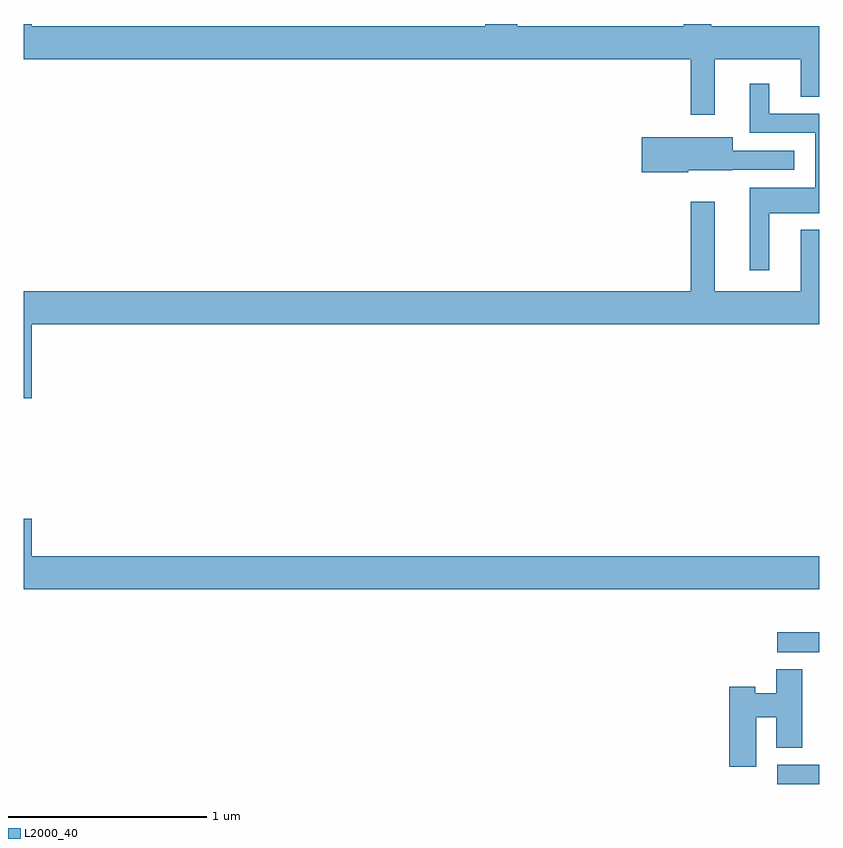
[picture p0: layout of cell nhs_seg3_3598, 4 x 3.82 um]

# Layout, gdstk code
import gdstk
lib = gdstk.Library(unit=1e-6, precision=1e-09)
def R(c, l, rs):  # rectangles x0, y0, x1, y1
    for r in rs: c.add(gdstk.rectangle(r[:2], r[2:], *l))
def P(c, l, *ps):  # polygons
    for p in ps: c.add(gdstk.Polygon(p, *l))
L2000_40 = (2000, 40)

nhs_seg3_3598 = lib.new_cell('nhs_seg3_3598')
R(nhs_seg3_3598, L2000_40, [(300.789,722.58,301,722.676), (300.789,723.243,301,723.342)])
P(nhs_seg3_3598, L2000_40, [(300.475,726.224),(300.905,726.224),(300.905,726.034),(301,726.034),(301,726.388),(300.457,726.388),(300.457,726.4),(300.317,726.4),(300.317,726.388),(299.481,726.388),(299.481,726.4),(299.321,726.4),(299.321,726.388),(297.04,726.388),(297.04,726.4),(297,726.4),(297,726.224),(300.354,726.224),(300.354,725.943),(300.475,725.943)],
  [(300.748,725.45),(301,725.45),(301,725.949),(300.748,725.949),(300.748,726.1),(300.65,726.1),(300.65,725.853),(300.98,725.853),(300.98,725.578),(300.65,725.578),(300.65,725.163),(300.748,725.163)],
  [(300.342,725.666),(300.561,725.666),(300.561,725.667),(300.874,725.667),(300.874,725.763),(300.565,725.763),(300.565,725.832),(300.108,725.832),(300.108,725.654),(300.342,725.654)],
  [(297.04,724.892),(301,724.892),(301,725.365),(300.905,725.365),(300.905,725.056),(300.475,725.056),(300.475,725.506),(300.354,725.506),(300.354,725.056),(297,725.056),(297,724.518),(297.04,724.518)],
  [(301,723.724),(297.04,723.724),(297.04,723.913),(297,723.913),(297,723.56),(301,723.56)],
  [(300.682,722.915),(300.782,722.915),(300.782,722.761),(300.913,722.761),(300.913,723.158),(300.782,723.158),(300.782,723.037),(300.678,723.037),(300.678,723.068),(300.548,723.068),(300.548,722.667),(300.682,722.667)])

lib.write_gds('nhs_seg3_3598.gds')
